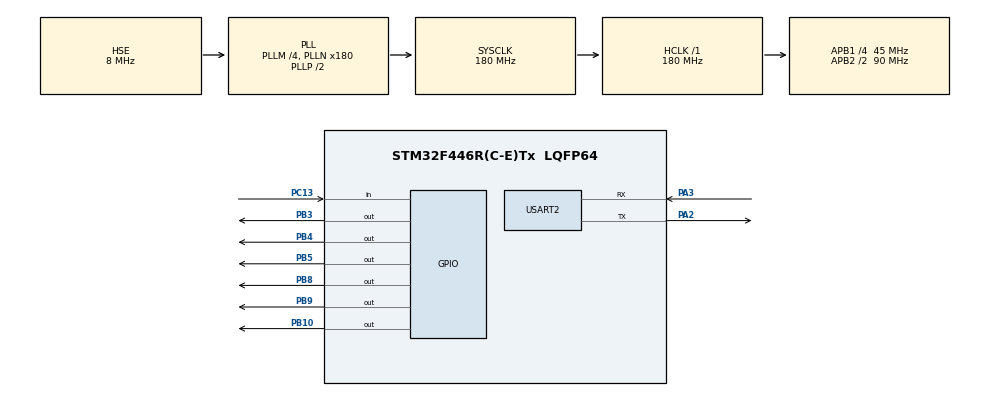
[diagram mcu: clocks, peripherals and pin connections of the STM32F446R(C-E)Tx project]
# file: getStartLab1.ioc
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FREERTOS.Tasks01=Task1,24,128,StartTask1,Default,NULL,Dynamic,NULL,NULL;Task2,24,128,StartTask2,Default,NULL,Dynamic,NULL,NULL;Task3,24,128,StartTask3,Default,NULL,Dynamic,NULL,NULL;Task4,24,128,StartTask4,Default,NULL,Dynamic,NULL,NULL;Task5,24,128,StartTask5,Default,NULL,Dynamic,NULL,NULL;Task6,24,128,StartTask6,Default,NULL,Dynamic,NULL,NULL
FREERTOS.configUSE_NEWLIB_REENTRANT=1
Mcu.Family=STM32F4
Mcu.Name=STM32F446R(C-E)Tx
Mcu.Package=LQFP64
NVIC.PriorityGroup=NVIC_PRIORITYGROUP_4
NVIC.TIM6_DAC_IRQn=true\:15\:0\:false\:false\:true\:false\:false\:true\:true
NVIC.TimeBase=TIM6_DAC_IRQn
NVIC.TimeBaseIP=TIM6
PA13.Mode=Serial_Wire
PA13.Signal=SYS_JTMS-SWDIO
PA14.Mode=Serial_Wire
PA14.Signal=SYS_JTCK-SWCLK
PA2.Mode=Asynchronous
PA2.Signal=USART2_TX
PA3.Mode=Asynchronous
PA3.Signal=USART2_RX
PB10.Signal=GPIO_Output
PB3.Signal=GPIO_Output
PB4.Signal=GPIO_Output
PB5.Signal=GPIO_Output
PB8.Signal=GPIO_Output
PB9.Signal=GPIO_Output
PC13.Signal=GPIO_Input
PH0-OSC_IN.Mode=HSE-External-Oscillator
PH0-OSC_IN.Signal=RCC_OSC_IN
PH1-OSC_OUT.Mode=HSE-External-Oscillator
PH1-OSC_OUT.Signal=RCC_OSC_OUT
ProjectManager.HeapSize=0x200
ProjectManager.StackSize=0x400
ProjectManager.TargetToolchain=STM32CubeIDE
RCC.48MHZClocksFreq_Value=84000000
RCC.AHBFreq_Value=180000000
RCC.APB1CLKDivider=RCC_HCLK_DIV4
RCC.APB1Freq_Value=45000000
RCC.APB1TimFreq_Value=90000000
RCC.APB2CLKDivider=RCC_HCLK_DIV2
RCC.APB2Freq_Value=90000000
RCC.APB2TimFreq_Value=180000000
RCC.CortexFreq_Value=180000000
RCC.FLatency-AdvancedSettings=FLASH_LATENCY_5
RCC.HCLKFreq_Value=180000000
RCC.HSE_VALUE=8000000
RCC.HSI_VALUE=16000000
RCC.PLLM=4
RCC.PLLN=180
RCC.PLLSourceVirtual=RCC_PLLSOURCE_HSE
RCC.SYSCLKFreq_VALUE=180000000
RCC.SYSCLKSource=RCC_SYSCLKSOURCE_PLLCLK
RCC.USBFreq_Value=180000000
RCC.VCOOutputFreq_Value=360000000
USART2.VirtualMode=VM_ASYNC
VP_FREERTOS_VS_CMSIS_V2.Mode=CMSIS_V2
VP_SYS_VS_tim6.Mode=TIM6
board=NUCLEO-F446RE

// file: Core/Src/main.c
/* USER CODE BEGIN Header */
/**
 ******************************************************************************
 * @file           : main.c
 * @brief          : Main program body
 ******************************************************************************
 * @attention
 *
 * Copyright (c) 2024 STMicroelectronics.
 * All rights reserved.
 *
 * This software is licensed under terms that can be found in the LICENSE file
 * in the root directory of this software component.
 * If no LICENSE file comes with this software, it is provided AS-IS.
 *
 ******************************************************************************
 */
/* USER CODE END Header */
#include "main.h"
#include "cmsis_os.h"

UART_HandleTypeDef huart2;

/* Definitions for Task1 */
osThreadId_t Task1Handle;
const osThreadAttr_t Task1_attributes = {
  .name = "Task1",
  .stack_size = 128 * 4,
  .priority = (osPriority_t) osPriorityNormal,
};
/* Definitions for Task2 */
osThreadId_t Task2Handle;
const osThreadAttr_t Task2_attributes = {
  .name = "Task2",
  .stack_size = 128 * 4,
  .priority = (osPriority_t) osPriorityNormal,
};
/* Definitions for Task3 */
osThreadId_t Task3Handle;
const osThreadAttr_t Task3_attributes = {
  .name = "Task3",
  .stack_size = 128 * 4,
  .priority = (osPriority_t) osPriorityNormal,
};
/* Definitions for Task4 */
osThreadId_t Task4Handle;
const osThreadAttr_t Task4_attributes = {
  .name = "Task4",
  .stack_size = 128 * 4,
  .priority = (osPriority_t) osPriorityNormal,
};
/* Definitions for Task5 */
osThreadId_t Task5Handle;
const osThreadAttr_t Task5_attributes = {
  .name = "Task5",
  .stack_size = 128 * 4,
  .priority = (osPriority_t) osPriorityNormal,
};
/* Definitions for Task6 */
osThreadId_t Task6Handle;
const osThreadAttr_t Task6_attributes = {
  .name = "Task6",
  .stack_size = 128 * 4,
  .priority = (osPriority_t) osPriorityNormal,
};

void SystemClock_Config(void);
static void MX_GPIO_Init(void);
static void MX_USART2_UART_Init(void);
void StartTask1(void *argument);
void StartTask2(void *argument);
void StartTask3(void *argument);
void StartTask4(void *argument);
void StartTask5(void *argument);
void StartTask6(void *argument);

/* USER CODE BEGIN 0 */
uint8_t dataTask1[] = "Task1: How are you?\r\n";
uint8_t dataTask2[] = "Task2: I am fine and you.\r\n";
uint8_t dataTask3[] = "Task3: It is nice you see here, Task3\r\n";

int flag = 0;

/* USER CODE END 0 */

int main(void)
{

  /* MCU Configuration--------------------------------------------------------*/

  /* Reset of all peripherals, Initializes the Flash interface and the Systick. */
  HAL_Init();

  /* Configure the system clock */
  SystemClock_Config();

  /* Initialize all configured peripherals */
  MX_GPIO_Init();
  MX_USART2_UART_Init();

  /* Init scheduler */
  osKernelInitialize();

  /* Create the thread(s) */
  /* creation of Task1 */
  Task1Handle = osThreadNew(StartTask1, NULL, &Task1_attributes);

  /* creation of Task2 */
  Task2Handle = osThreadNew(StartTask2, NULL, &Task2_attributes);

  /* creation of Task3 */
  Task3Handle = osThreadNew(StartTask3, NULL, &Task3_attributes);

  /* creation of Task4 */
  Task4Handle = osThreadNew(StartTask4, NULL, &Task4_attributes);

  /* creation of Task5 */
  Task5Handle = osThreadNew(StartTask5, NULL, &Task5_attributes);

  /* creation of Task6 */
  Task6Handle = osThreadNew(StartTask6, NULL, &Task6_attributes);

  /* Start scheduler */
  osKernelStart();

  /* We should never get here as control is now taken by the scheduler */

  /* Infinite loop */
	while (1) {

	}
}

void SystemClock_Config(void)
{
  RCC_OscInitTypeDef RCC_OscInitStruct = {0};
  RCC_ClkInitTypeDef RCC_ClkInitStruct = {0};

  /** Configure the main internal regulator output voltage
  */
  __HAL_RCC_PWR_CLK_ENABLE();
  __HAL_PWR_VOLTAGESCALING_CONFIG(PWR_REGULATOR_VOLTAGE_SCALE1);

  /** Initializes the RCC Oscillators according to the specified parameters
  * in the RCC_OscInitTypeDef structure.
  */
  RCC_OscInitStruct.OscillatorType = RCC_OSCILLATORTYPE_HSE;
  RCC_OscInitStruct.HSEState = RCC_HSE_ON;
  RCC_OscInitStruct.PLL.PLLState = RCC_PLL_ON;
  RCC_OscInitStruct.PLL.PLLSource = RCC_PLLSOURCE_HSE;
  RCC_OscInitStruct.PLL.PLLM = 4;
  RCC_OscInitStruct.PLL.PLLN = 180;
  RCC_OscInitStruct.PLL.PLLP = RCC_PLLP_DIV2;
  RCC_OscInitStruct.PLL.PLLQ = 2;
  RCC_OscInitStruct.PLL.PLLR = 2;
  if (HAL_RCC_OscConfig(&RCC_OscInitStruct) != HAL_OK)
  {
    Error_Handler();
  }

  /** Activate the Over-Drive mode
  */
  if (HAL_PWREx_EnableOverDrive() != HAL_OK)
  {
    Error_Handler();
  }

  /** Initializes the CPU, AHB and APB buses clocks
  */
  RCC_ClkInitStruct.ClockType = RCC_CLOCKTYPE_HCLK|RCC_CLOCKTYPE_SYSCLK
                              |RCC_CLOCKTYPE_PCLK1|RCC_CLOCKTYPE_PCLK2;
  RCC_ClkInitStruct.SYSCLKSource = RCC_SYSCLKSOURCE_PLLCLK;
  RCC_ClkInitStruct.AHBCLKDivider = RCC_SYSCLK_DIV1;
  RCC_ClkInitStruct.APB1CLKDivider = RCC_HCLK_DIV4;
  RCC_ClkInitStruct.APB2CLKDivider = RCC_HCLK_DIV2;

  if (HAL_RCC_ClockConfig(&RCC_ClkInitStruct, FLASH_LATENCY_5) != HAL_OK)
  {
    Error_Handler();
  }
}

static void MX_USART2_UART_Init(void)
{

  huart2.Instance = USART2;
  huart2.Init.BaudRate = 115200;
  huart2.Init.WordLength = UART_WORDLENGTH_8B;
  huart2.Init.StopBits = UART_STOPBITS_1;
  huart2.Init.Parity = UART_PARITY_NONE;
  huart2.Init.Mode = UART_MODE_TX_RX;
  huart2.Init.HwFlowCtl = UART_HWCONTROL_NONE;
  huart2.Init.OverSampling = UART_OVERSAMPLING_16;
  if (HAL_UART_Init(&huart2) != HAL_OK)
  {
    Error_Handler();
  }

}

static void MX_GPIO_Init(void)
{
  GPIO_InitTypeDef GPIO_InitStruct = {0};

  /* GPIO Ports Clock Enable */
  __HAL_RCC_GPIOC_CLK_ENABLE();
  __HAL_RCC_GPIOH_CLK_ENABLE();
  __HAL_RCC_GPIOA_CLK_ENABLE();
  __HAL_RCC_GPIOB_CLK_ENABLE();

  /*Configure GPIO pin Output Level */
  HAL_GPIO_WritePin(GPIOB, GPIO_PIN_10|GPIO_PIN_3|GPIO_PIN_4|GPIO_PIN_5
                          |GPIO_PIN_8|GPIO_PIN_9, GPIO_PIN_RESET);

  /*Configure GPIO pin : PC13 */
  GPIO_InitStruct.Pin = GPIO_PIN_13;
  GPIO_InitStruct.Mode = GPIO_MODE_INPUT;
  GPIO_InitStruct.Pull = GPIO_NOPULL;
  HAL_GPIO_Init(GPIOC, &GPIO_InitStruct);

  /*Configure GPIO pins : PB10 PB3 PB4 PB5
                           PB8 PB9 */
  GPIO_InitStruct.Pin = GPIO_PIN_10|GPIO_PIN_3|GPIO_PIN_4|GPIO_PIN_5
                          |GPIO_PIN_8|GPIO_PIN_9;
  GPIO_InitStruct.Mode = GPIO_MODE_OUTPUT_PP;
  GPIO_InitStruct.Pull = GPIO_NOPULL;
  GPIO_InitStruct.Speed = GPIO_SPEED_FREQ_LOW;
  HAL_GPIO_Init(GPIOB, &GPIO_InitStruct);

}

void StartTask1(void *argument)
{
  /* USER CODE BEGIN 5 */
	/* Infinite loop */
	for (;;) {

		HAL_UART_Transmit(&huart2, dataTask1, sizeof(dataTask1), 1000);
		// HAL_GPIO_WritePin(GPIOB, GPIO_PIN_3|GPIO_PIN_4|GPIO_PIN_5, GPIO_PIN_RESET);

		// Turn ON green LED for motorist (initial state)
		HAL_GPIO_WritePin(GPIOB, GPIO_PIN_4, GPIO_PIN_SET);

		// The button is pushed
		if (flag) {
			// Turn OFF green LED for 17 seconds
			HAL_GPIO_WritePin(GPIOB, GPIO_PIN_4, GPIO_PIN_RESET);
			osDelay(17000);

			// Set the flag back to 0 (wait 17 seconds, same for all six tasks)
			flag = 0;

		}
	}
  /* USER CODE END 5 */
}

void StartTask2(void *argument)
{
  /* USER CODE BEGIN StartTask2 */
	/* Infinite loop */
	for (;;) {
		HAL_UART_Transmit(&huart2, dataTask2, sizeof(dataTask2), 1000);

		// Turn OFF yellow LED for motorist (initial state)
		HAL_GPIO_WritePin(GPIOB, GPIO_PIN_5, GPIO_PIN_RESET);

		// The button is pushed
		if (flag) {
			// Turn ON yellow LED for 3 seconds
			HAL_GPIO_WritePin(GPIOB, GPIO_PIN_5, GPIO_PIN_SET);
			osDelay(3000);

			// Turn OFF yellow LED for 12 seconds
			HAL_GPIO_WritePin(GPIOB, GPIO_PIN_5, GPIO_PIN_RESET);
			osDelay(12000);

			// Turn ON yellow LED for 2 seconds
			HAL_GPIO_WritePin(GPIOB, GPIO_PIN_5, GPIO_PIN_SET);
			osDelay(2000);

			// Set the flag back to 0
			flag = 0;
		}

	}
  /* USER CODE END StartTask2 */
}

void StartTask3(void *argument)
{
  /* USER CODE BEGIN StartTask3 */
	/* Infinite loop */
	for (;;) {
		HAL_UART_Transmit(&huart2, dataTask3, sizeof(dataTask3), 1000);

		// Turn OFF red LED for motorist (initial state)
		HAL_GPIO_WritePin(GPIOB, GPIO_PIN_3, GPIO_PIN_RESET);

		// The button is pushed
		if (flag) {
			osDelay(3000);

			// Turn ON red LED for 14 seconds
			HAL_GPIO_WritePin(GPIOB, GPIO_PIN_3, GPIO_PIN_SET);
			osDelay(14000);

			// Set the flag back to 0
			flag = 0;
		}
	}
  /* USER CODE END StartTask3 */
}

void StartTask4(void *argument)
{
  /* USER CODE BEGIN StartTask4 */
	/* Infinite loop */
	for (;;) {
		uint8_t dataTask4[] = "Task 5: I toggle GPIOB pin 7.\r\n";

		// Turn ON red LED for pedestrian (Initial state)
		HAL_GPIO_WritePin(GPIOB, GPIO_PIN_8, GPIO_PIN_SET);

		// The button is pushed
		if (flag) {
			// Keep turning ON red LED for pedestrian 4 seconds
			osDelay(4000);

			// Turn OFF red LED for pedestrian 10 seconds
			HAL_GPIO_WritePin(GPIOB, GPIO_PIN_8, GPIO_PIN_RESET);
			osDelay(10000);

			// Turn ON red LED for pedestrian
			HAL_GPIO_WritePin(GPIOB, GPIO_PIN_8, GPIO_PIN_SET);
			osDelay(3000);

			// Set the flag back to 0
			flag = 0;

			HAL_UART_Transmit(&huart2, dataTask4, sizeof(dataTask4), 1000);
		}
	}
  /* USER CODE END StartTask4 */
}

void StartTask5(void *argument)
{
  /* USER CODE BEGIN StartTask5 */
	/* Infinite loop */
	for (;;) {
		uint8_t str1[] = "I am waiting push-button\r\n";
		HAL_UART_Transmit(&huart2, str1, sizeof(str1), 1000);

		// Busy-Waiting. It will not quit the while loop until reads the input from pin13 is 0 or False
		// i.e. it will not quit the while loop until the button is pressed)
		while (HAL_GPIO_ReadPin(GPIOC, GPIO_PIN_13))
			;

		// Set the flag to be 1
		flag = 1;

		uint8_t str2[] = "I got push-button\r\n";

		HAL_UART_Transmit(&huart2, str2, sizeof(str2), 1000);
	}
  /* USER CODE END StartTask5 */
}

void StartTask6(void *argument)
{
  /* USER CODE BEGIN StartTask6 */
	/* Infinite loop */
	for (;;) {
		// Turn OFF green LED for pedestrian (Initial state)
		HAL_GPIO_WritePin(GPIOB, GPIO_PIN_9, GPIO_PIN_RESET);

		// The button is pushed
		if (flag) {
			// Keep turning OFF green LED for 4 seconds
			osDelay(4000);

			// Turn ON green LED for pedestrian 10 seconds
			HAL_GPIO_WritePin(GPIOB, GPIO_PIN_9, GPIO_PIN_SET);
			osDelay(10000);

			// Turn OFF green LED for pedestrian
			HAL_GPIO_WritePin(GPIOB, GPIO_PIN_9, GPIO_PIN_RESET);
			osDelay(3000);

			// Set the flag back to 0
			flag = 0;
		}
	}
  /* USER CODE END StartTask6 */
}

void HAL_TIM_PeriodElapsedCallback(TIM_HandleTypeDef *htim)
{
  if (htim->Instance == TIM6) {
    HAL_IncTick();
  }
}

void Error_Handler(void)
{
	__disable_irq();
	while (1) {
	}
}
